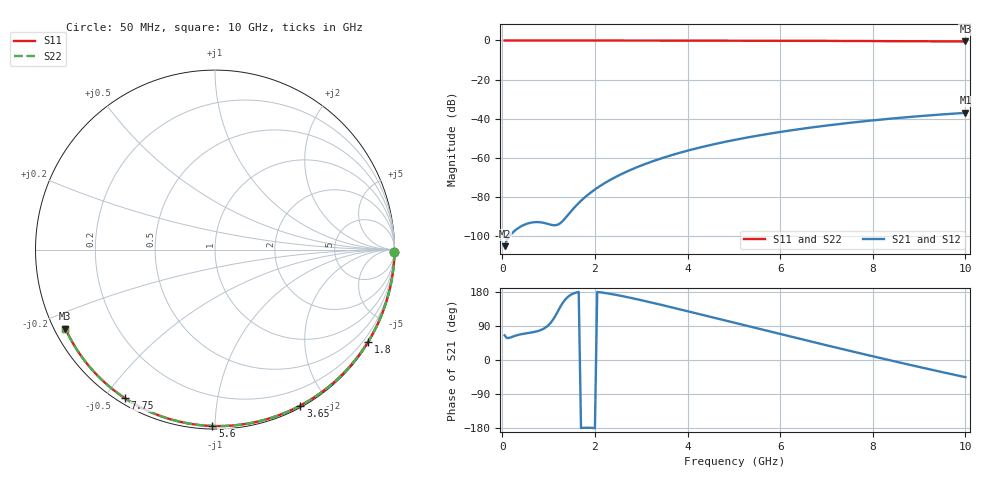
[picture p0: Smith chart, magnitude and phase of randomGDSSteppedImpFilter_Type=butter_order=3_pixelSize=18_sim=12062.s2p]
! freq	dB(S11)	phase(S11)	dB(S12)	phase(S12)
!  dB(S21)	phase(S21)	dB(S22)	phase(S22)
!S-par simulation data
#  GHz  S  DB  R 50
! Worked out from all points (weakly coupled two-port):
!   200 points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, 50 MHz to 10 GHz, reference 50 ohm
!   highest |S21| = -37.04 dB at 10 GHz (marker M1); lowest = -105.3 dB at 50 MHz (marker M2)
!   lowest |S11| = -0.5 dB at 10 GHz (marker M3), VSWR 33.91, Z = 1.56 - j12.4 ohm
!   |S11| at or under -10 dB: nowhere
!   |S22| runs from -0.5 to 0.0 dB; largest |S21 - S12| = 0
!   S11 on the Smith chart (normalised r, x): 50 MHz: open; 1.8 GHz: 0.03, -3.60; 3.65 GHz: 0.02, -1.69; 5.6 GHz: 0.02, -0.98; 7.75 GHz: 0.02, -0.56; 10 GHz: 0.03, -0.25
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0.05  -0.00 -0.9  -105.29 64.9  -105.29 64.9  -0.00 -0.9
0.45  -0.01 -7.9  -94.59 69.0  -94.59 69.0  -0.01 -7.9
0.9  -0.02 -15.7  -93.38 83.0  -93.38 83.0  -0.02 -15.7
1.3  -0.03 -22.5  -92.51 149.7  -92.51 149.7  -0.03 -22.5
1.75  -0.04 -30.2  -80.97 -179.0  -80.97 -179.0  -0.04 -30.2
1.8  -0.04 -31.0  -79.94 -178.7  -79.94 -178.7  -0.04 -31.0
1.95  -0.04 -33.5  -77.13 -179.3  -77.13 -179.3  -0.04 -33.5
2.1  -0.05 -36.1  -74.67 178.9  -74.67 178.9  -0.05 -36.1
2.3  -0.05 -39.4  -71.78 175.3  -71.78 175.3  -0.05 -39.4
2.5  -0.05 -42.7  -69.25 170.8  -69.25 170.8  -0.05 -42.7
2.9  -0.06 -49.3  -64.96 160.6  -64.96 160.6  -0.06 -49.3
3.4  -0.08 -57.3  -60.61 146.5  -60.61 146.5  -0.08 -57.3
3.65  -0.08 -61.3  -58.75 139.2  -58.75 139.2  -0.08 -61.3
4.3  -0.10 -71.4  -54.60 119.7  -54.60 119.7  -0.10 -71.4
5.05  -0.13 -82.8  -50.75 97.0  -50.75 97.0  -0.13 -82.8
5.6  -0.15 -90.9  -48.38 80.5  -48.38 80.5  -0.15 -90.9
6.15  -0.18 -98.8  -46.30 64.0  -46.30 64.0  -0.18 -98.8
6.7  -0.21 -106.6  -44.47 47.7  -44.47 47.7  -0.21 -106.6
7.75  -0.28 -121.2  -41.51 17.0  -41.51 17.0  -0.28 -121.2
8.35  -0.33 -129.4  -40.10 -0.1  -40.10 -0.1  -0.33 -129.4
9.2  -0.42 -141.1  -38.39 -23.8  -38.39 -23.8  -0.42 -141.1
10  -0.51 -152.2  -37.04 -45.3  -37.04 -45.3  -0.51 -152.2
